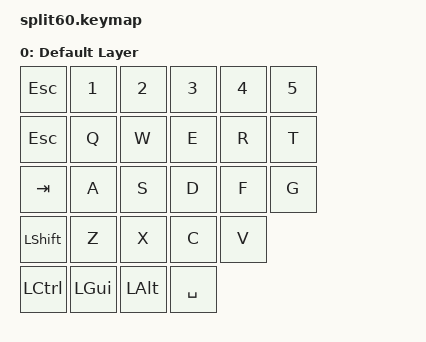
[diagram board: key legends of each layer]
/*
 * Copyright (c) 2020 The ZMK Contributors
 *
 * SPDX-License-Identifier: MIT
 */

#include <behaviors.dtsi>
#include <dt-bindings/zmk/keys.h>
#include <dt-bindings/zmk/bt.h>

/ {
    keymap {
        compatible = "zmk,keymap";

        default_layer {
            display-name = "Default Layer";

            bindings = <
&kp ESCAPE        &kp 1         &kp 2         &kp 3      &kp 4  &kp 5
&kp ESCAPE        &kp Q         &kp W         &kp E      &kp R  &kp T
&kp TAB           &kp A         &kp S         &kp D      &kp F  &kp G
&kp LEFT_SHIFT    &kp Z         &kp X         &kp C      &kp V  
&kp LEFT_CONTROL  &kp LEFT_GUI  &kp LEFT_ALT  &kp SPACE  
            >;  

        };
    };
};
